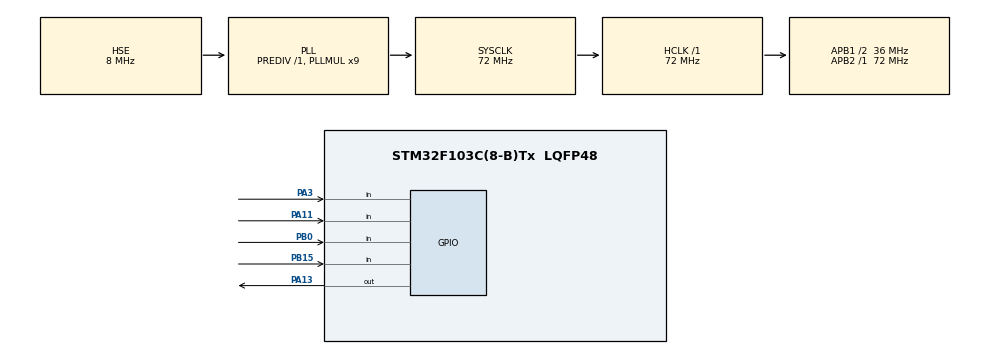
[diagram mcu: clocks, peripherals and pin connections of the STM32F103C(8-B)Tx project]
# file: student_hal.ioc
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Mcu.Family=STM32F1
Mcu.Name=STM32F103C(8-B)Tx
Mcu.Package=LQFP48
NVIC.PriorityGroup=NVIC_PRIORITYGROUP_4
NVIC.TIM3_IRQn=true\:0\:0\:false\:false\:true\:true
PA11.GPIO_PuPd=GPIO_PULLUP
PA11.Signal=GPIO_Input
PA13.GPIO_Speed=GPIO_SPEED_FREQ_LOW
PA13.Signal=GPIO_Output
PA3.Signal=GPIO_Input
PB0.Signal=GPIO_Input
PB15.GPIO_PuPd=GPIO_PULLUP
PB15.Signal=GPIO_Input
PD0-OSC_IN.Mode=HSE-External-Oscillator
PD0-OSC_IN.Signal=RCC_OSC_IN
PD1-OSC_OUT.Mode=HSE-External-Oscillator
PD1-OSC_OUT.Signal=RCC_OSC_OUT
ProjectManager.HeapSize=0x200
ProjectManager.StackSize=0x400
ProjectManager.TargetToolchain=SW4STM32
RCC.AHBFreq_Value=72000000
RCC.APB1CLKDivider=RCC_HCLK_DIV2
RCC.APB1Freq_Value=36000000
RCC.APB1TimFreq_Value=72000000
RCC.APB2Freq_Value=72000000
RCC.APB2TimFreq_Value=72000000
RCC.HCLKFreq_Value=72000000
RCC.PLLMUL=RCC_PLL_MUL9
RCC.PLLSourceVirtual=RCC_PLLSOURCE_HSE
RCC.SYSCLKFreq_VALUE=72000000
RCC.SYSCLKSource=RCC_SYSCLKSOURCE_PLLCLK
RCC.USBFreq_Value=72000000
TIM3.ClockDivision=TIM_CLOCKDIVISION_DIV2
TIM3.Period=500
TIM3.Prescaler=36000
VP_SYS_VS_ND.Mode=No_Debug
VP_TIM3_VS_ClockSourceINT.Mode=Internal
board=student_hal

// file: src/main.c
/**
  ******************************************************************************
  * File Name          : main.c
  * Description        : Main program body
  ******************************************************************************
  ** This notice applies to any and all portions of this file
  * that are not between comment pairs USER CODE BEGIN and
  * USER CODE END. Other portions of this file, whether
  * inserted by the user or by software development tools
  * are owned by their respective copyright owners.
  *
  * COPYRIGHT(c) 2018 STMicroelectronics
  *
  * Redistribution and use in source and binary forms, with or without modification,
  * are permitted provided that the following conditions are met:
  *   1. Redistributions of source code must retain the above copyright notice,
  *      this list of conditions and the following disclaimer.
  *   2. Redistributions in binary form must reproduce the above copyright notice,
  *      this list of conditions and the following disclaimer in the documentation
  *      and/or other materials provided with the distribution.
  *   3. Neither the name of STMicroelectronics nor the names of its contributors
  *      may be used to endorse or promote products derived from this software
  *      without specific prior written permission.
  *
  * THIS SOFTWARE IS PROVIDED BY THE COPYRIGHT HOLDERS AND CONTRIBUTORS "AS IS"
  * AND ANY EXPRESS OR IMPLIED WARRANTIES, INCLUDING, BUT NOT LIMITED TO, THE
  * IMPLIED WARRANTIES OF MERCHANTABILITY AND FITNESS FOR A PARTICULAR PURPOSE ARE
  * DISCLAIMED. IN NO EVENT SHALL THE COPYRIGHT HOLDER OR CONTRIBUTORS BE LIABLE
  * FOR ANY DIRECT, INDIRECT, INCIDENTAL, SPECIAL, EXEMPLARY, OR CONSEQUENTIAL
  * DAMAGES (INCLUDING, BUT NOT LIMITED TO, PROCUREMENT OF SUBSTITUTE GOODS OR
  * SERVICES; LOSS OF USE, DATA, OR PROFITS; OR BUSINESS INTERRUPTION) HOWEVER
  * CAUSED AND ON ANY THEORY OF LIABILITY, WHETHER IN CONTRACT, STRICT LIABILITY,
  * OR TORT (INCLUDING NEGLIGENCE OR OTHERWISE) ARISING IN ANY WAY OUT OF THE USE
  * OF THIS SOFTWARE, EVEN IF ADVISED OF THE POSSIBILITY OF SUCH DAMAGE.
  *
  ******************************************************************************
  */
#include "main.h"
#include "stm32f1xx_hal.h"

TIM_HandleTypeDef htim3;

/* USER CODE BEGIN PV */
/* Private variables ---------------------------------------------------------*/

uint16_t t1_val = 500, t2_val = 500;

/* USER CODE END PV */

void SystemClock_Config(void);
static void MX_GPIO_Init(void);
static void MX_TIM3_Init(void);

/* USER CODE BEGIN PFP */
/* Private function prototypes -----------------------------------------------*/

/* USER CODE END PFP */

int main(void)
{

  /* MCU Configuration----------------------------------------------------------*/

  /* Reset of all peripherals, Initializes the Flash interface and the Systick. */
  HAL_Init();

  /* Configure the system clock */
  SystemClock_Config();

  /* Initialize all configured peripherals */
  MX_GPIO_Init();
  MX_TIM3_Init();

  /* USER CODE BEGIN 2 */

  GPIO_PinState last_state = HAL_GPIO_ReadPin(GPIOA, GPIO_PIN_11);
  /* USER CODE END 2 */

  /* Infinite loop */
  while (1)
  {

  /* USER CODE BEGIN 3 */
	  GPIO_PinState now = HAL_GPIO_ReadPin(GPIOA, GPIO_PIN_11);
	  if (now != last_state) {
		  HAL_TIM_Base_Stop(&htim3);

		  if (now) {
			  uint16_t ticks =  __HAL_TIM_GET_COUNTER(&htim3);
			  if (ticks >= 1000)
				  t2_val = ticks;
			  __HAL_TIM_SET_AUTORELOAD(&htim3, t1_val);
		  }
		  else {
			  HAL_GPIO_WritePin(GPIOC, GPIO_PIN_13, GPIO_PIN_SET);
			  __HAL_TIM_SET_AUTORELOAD(&htim3, UINT16_MAX);
		  }

		  last_state = now;
		  //    		TIM3->CNT = 0;
		  __HAL_TIM_SET_COUNTER(&htim3, 0);
		  HAL_TIM_Base_Start(&htim3);
	  }

	  if (HAL_GPIO_ReadPin(GPIOA, GPIO_PIN_3) == GPIO_PIN_RESET) {
		  t1_val = 1000;
	  }
	  else if (HAL_GPIO_ReadPin(GPIOB, GPIO_PIN_0) == GPIO_PIN_RESET) {
		  t1_val = 1500;
	  }
	  else if (HAL_GPIO_ReadPin(GPIOB, GPIO_PIN_15) == GPIO_PIN_RESET) {
		  t1_val = 2000;
	  }
	  else {
		  t1_val = 500;
	  }
  }
  /* USER CODE END 3 */

}

/** System Clock Configuration
*/
void SystemClock_Config(void)
{

  RCC_OscInitTypeDef RCC_OscInitStruct;
  RCC_ClkInitTypeDef RCC_ClkInitStruct;

    /**Initializes the CPU, AHB and APB busses clocks
    */
  RCC_OscInitStruct.OscillatorType = RCC_OSCILLATORTYPE_HSE;
  RCC_OscInitStruct.HSEState = RCC_HSE_ON;
  RCC_OscInitStruct.HSEPredivValue = RCC_HSE_PREDIV_DIV1;
  RCC_OscInitStruct.HSIState = RCC_HSI_ON;
  RCC_OscInitStruct.PLL.PLLState = RCC_PLL_ON;
  RCC_OscInitStruct.PLL.PLLSource = RCC_PLLSOURCE_HSE;
  RCC_OscInitStruct.PLL.PLLMUL = RCC_PLL_MUL9;
  if (HAL_RCC_OscConfig(&RCC_OscInitStruct) != HAL_OK)
  {
    _Error_Handler(__FILE__, __LINE__);
  }

    /**Initializes the CPU, AHB and APB busses clocks
    */
  RCC_ClkInitStruct.ClockType = RCC_CLOCKTYPE_HCLK|RCC_CLOCKTYPE_SYSCLK
                              |RCC_CLOCKTYPE_PCLK1|RCC_CLOCKTYPE_PCLK2;
  RCC_ClkInitStruct.SYSCLKSource = RCC_SYSCLKSOURCE_PLLCLK;
  RCC_ClkInitStruct.AHBCLKDivider = RCC_SYSCLK_DIV1;
  RCC_ClkInitStruct.APB1CLKDivider = RCC_HCLK_DIV2;
  RCC_ClkInitStruct.APB2CLKDivider = RCC_HCLK_DIV1;

  if (HAL_RCC_ClockConfig(&RCC_ClkInitStruct, FLASH_LATENCY_2) != HAL_OK)
  {
    _Error_Handler(__FILE__, __LINE__);
  }

    /**Configure the Systick interrupt time
    */
  HAL_SYSTICK_Config(HAL_RCC_GetHCLKFreq()/1000);

    /**Configure the Systick
    */
  HAL_SYSTICK_CLKSourceConfig(SYSTICK_CLKSOURCE_HCLK);

  /* SysTick_IRQn interrupt configuration */
  HAL_NVIC_SetPriority(SysTick_IRQn, 0, 0);
}

/* TIM3 init function */
static void MX_TIM3_Init(void)
{

  TIM_ClockConfigTypeDef sClockSourceConfig;
  TIM_MasterConfigTypeDef sMasterConfig;

  htim3.Instance = TIM3;
  htim3.Init.Prescaler = 36000;
  htim3.Init.CounterMode = TIM_COUNTERMODE_UP;
  htim3.Init.Period = 500;
  htim3.Init.ClockDivision = TIM_CLOCKDIVISION_DIV2;
  htim3.Init.AutoReloadPreload = TIM_AUTORELOAD_PRELOAD_DISABLE;
  if (HAL_TIM_Base_Init(&htim3) != HAL_OK)
  {
    _Error_Handler(__FILE__, __LINE__);
  }

  sClockSourceConfig.ClockSource = TIM_CLOCKSOURCE_INTERNAL;
  if (HAL_TIM_ConfigClockSource(&htim3, &sClockSourceConfig) != HAL_OK)
  {
    _Error_Handler(__FILE__, __LINE__);
  }

  sMasterConfig.MasterOutputTrigger = TIM_TRGO_RESET;
  sMasterConfig.MasterSlaveMode = TIM_MASTERSLAVEMODE_DISABLE;
  if (HAL_TIMEx_MasterConfigSynchronization(&htim3, &sMasterConfig) != HAL_OK)
  {
    _Error_Handler(__FILE__, __LINE__);
  }

}

/** Configure pins as
        * Analog
        * Input
        * Output
        * EVENT_OUT
        * EXTI
        * Free pins are configured automatically as Analog (this feature is enabled through
        * the Code Generation settings)
*/
static void MX_GPIO_Init(void)
{

  GPIO_InitTypeDef GPIO_InitStruct;

  /* GPIO Ports Clock Enable */
  __HAL_RCC_GPIOC_CLK_ENABLE();
  __HAL_RCC_GPIOD_CLK_ENABLE();
  __HAL_RCC_GPIOA_CLK_ENABLE();
  __HAL_RCC_GPIOB_CLK_ENABLE();

  /*Configure GPIO pin Output Level */
  HAL_GPIO_WritePin(GPIOA, GPIO_PIN_13, GPIO_PIN_RESET);

  /*Configure GPIO pins : PC13 PC14 */
  GPIO_InitStruct.Pin = GPIO_PIN_13|GPIO_PIN_14;
  GPIO_InitStruct.Mode = GPIO_MODE_ANALOG;
  HAL_GPIO_Init(GPIOC, &GPIO_InitStruct);

  /*Configure GPIO pin : PB15 PB0 */
  GPIO_InitStruct.Pin = GPIO_PIN_0| GPIO_PIN_15;
  GPIO_InitStruct.Mode = GPIO_MODE_INPUT;
  GPIO_InitStruct.Pull = GPIO_PULLDOWN;
  HAL_GPIO_Init(GPIOB, &GPIO_InitStruct);

  /*Configure GPIO pins : PA0 PA1 PA2 PA3
                           PA4 PA5 PA6 PA7
                           PA8 PA9 PA10 PA12
                           PA14 PA15 */
  GPIO_InitStruct.Pin = GPIO_PIN_0|GPIO_PIN_1|GPIO_PIN_2|GPIO_PIN_3
                          |GPIO_PIN_4|GPIO_PIN_5|GPIO_PIN_6|GPIO_PIN_7
                          |GPIO_PIN_8|GPIO_PIN_9|GPIO_PIN_10|GPIO_PIN_12
                          |GPIO_PIN_14|GPIO_PIN_15;
  GPIO_InitStruct.Mode = GPIO_MODE_ANALOG;
  HAL_GPIO_Init(GPIOA, &GPIO_InitStruct);

  /*Configure GPIO pins : PB0 PB1 PB2 PB10
                           PB11 PB12 PB13 PB14
                           PB3 PB4 PB5 PB6
                           PB7 PB8 */
  GPIO_InitStruct.Pin = GPIO_PIN_0|GPIO_PIN_1|GPIO_PIN_2|GPIO_PIN_10
                          |GPIO_PIN_11|GPIO_PIN_12|GPIO_PIN_13|GPIO_PIN_14
                          |GPIO_PIN_3|GPIO_PIN_4|GPIO_PIN_5|GPIO_PIN_6
                          |GPIO_PIN_7|GPIO_PIN_8;
  GPIO_InitStruct.Mode = GPIO_MODE_ANALOG;
  HAL_GPIO_Init(GPIOB, &GPIO_InitStruct);

  /*Configure GPIO pins : PA3 */
  GPIO_InitStruct.Pin = GPIO_PIN_3;
  GPIO_InitStruct.Mode = GPIO_MODE_INPUT;
  GPIO_InitStruct.Pull = GPIO_PULLDOWN;
  HAL_GPIO_Init(GPIOA, &GPIO_InitStruct);

  /*Configure GPIO pin : PA11 */
  GPIO_InitStruct.Pin = GPIO_PIN_11;
  GPIO_InitStruct.Mode = GPIO_MODE_INPUT;
  GPIO_InitStruct.Pull = GPIO_PULLUP;
  HAL_GPIO_Init(GPIOA, &GPIO_InitStruct);

  /*Configure GPIO pin : PA13 */
  GPIO_InitStruct.Pin = GPIO_PIN_13;
  GPIO_InitStruct.Mode = GPIO_MODE_OUTPUT_PP;
  GPIO_InitStruct.Speed = GPIO_SPEED_FREQ_LOW;
  HAL_GPIO_Init(GPIOA, &GPIO_InitStruct);

}

/* USER CODE BEGIN 4 */

void HAL_TIM_PeriodElapsedCallback(TIM_HandleTypeDef * htim)
{
	if (htim == &htim3) {

	//    if (GPIOC->IDR & GPIO_IDR_IDR13) {
		if (HAL_GPIO_ReadPin(GPIOC, GPIO_PIN_13) == GPIO_PIN_SET) {
			__HAL_TIM_SET_AUTORELOAD(&htim3, t2_val);
//			HAL_GPIO_WritePin(GPIOC, GPIO_PIN_13, GPIO_PIN_RESET);
	    }
	    else {
	    	__HAL_TIM_SET_AUTORELOAD(&htim3, t1_val);
//	    	HAL_GPIO_WritePin(GPIOC, GPIO_PIN_13, GPIO_PIN_SET);
	    }
		HAL_GPIO_TogglePin(GPIOC, GPIO_PIN_13);
	}
}

/* USER CODE END 4 */

void _Error_Handler(char * file, int line)
{
  while(1)
  {
  }
}

/************************ (C) COPYRIGHT STMicroelectronics *****END OF FILE****/
